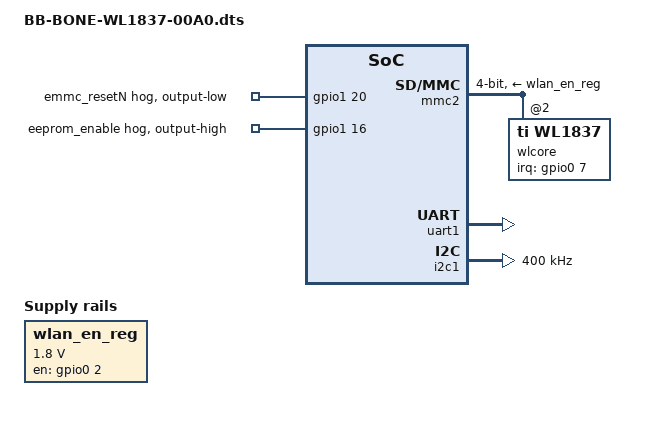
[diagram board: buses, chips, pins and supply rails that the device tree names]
/*
 * Copyright (C) 2012 Texas Instruments Incorporated - http://www.ti.com/
 *
 * This program is free software; you can redistribute it and/or modify
 * it under the terms of the GNU General Public License version 2 as
 * published by the Free Software Foundation.
 */

/dts-v1/;
/plugin/;

#include <dt-bindings/board/am335x-bbw-bbb-base.h>
#include <dt-bindings/gpio/gpio.h>
#include <dt-bindings/pinctrl/am33xx.h>

/ {
	compatible = "ti,beaglebone", "ti,beaglebone-black";

	/* identification */
	part-number = "BB-BONE-WL1837";
	version = "00A0";

	/* state the resources this cape uses */
	exclusive-use =
		/* the pin header uses */
		"P8.25",	/* sdio: data0 */
		"P8.24",	/* sdio: data1 */
		"P8.5",		/* sdio: data2 */
		"P8.6",		/* sdio: data3 */
		"P8.21",	/* sdio: clk */
		"P8.20",	/* sdio: cmd */
		"P9.19",	/* uart1: rtsn */
		"P9.20",	/* uart1: ctsn */
		"P9.26",	/* uart1: rxd */
		"P9.24",	/* uart1: txd */
		"P9.17",	/* i2c1 */
		"P9.18",	/* i2c1 */

		"gpio0_2",	/* WL_EN */
		"gpio0_7",	/* WL_IRQ */
		"gpio0_3",	/* BT_EN */
		"gpio1_29",	/* BUF_ENABLE */
		"gpio2_2", 	/* Audio_sync */
		"gpio1_20",	/* EMMC ResetN */
		"gpio1_16",	/* EEPROM Enable */

		/* the hardware ip uses */
		"mmc2",
		"uart1",
		"i2c1";

	/*
	 * Helper to show loaded overlays under: /proc/device-tree/chosen/overlays/
	 */
	fragment@0 {
		target-path="/";
		__overlay__ {

			chosen {
				overlays {
					BB-BONE-WL1837-00A1 = __TIMESTAMP__;
				};
			};
		};
	};

	/*
	 * Free up the pins used by the cape from the pinmux helpers.
	 */
	fragment@1 {
		target = <&ocp>;
		__overlay__ {
			P9_21_pinmux { status = "disabled"; };	/* P9_21: gpio0_3 BT_EN*/

			P8_21_pinmux { status = "disabled"; };	/* P8_21: gpmc_csn1.mmc1_clk */
			P8_20_pinmux { status = "disabled"; };	/* P8_20: gpmc_csn2.mmc1_cmd */
			P8_25_pinmux { status = "disabled"; };	/* P8_25: gpmc_ad0.mmc1_dat0 */
			P8_24_pinmux { status = "disabled"; };	/* P8_24: gpmc_ad1.mmc1_dat1 */
			P8_05_pinmux { status = "disabled"; };	/* P8_05: gpmc_ad2.mmc1_dat2 */
			P8_06_pinmux { status = "disabled"; };	/* P8_06: gpmc_ad3.mmc1_dat3 */

			P9_22_pinmux { status = "disabled"; };	/* P9_22: gpio0_2 WL_EN */
			P9_42_pinmux { status = "disabled"; };	/* P9_42: gpio0_7 WL_IRQ */
			P8_26_pinmux { status = "disabled"; };	/* P8_26: gpmc_csn0.gpio1_29 BF_EN*/
			P8_07_pinmux { status = "disabled"; };	/* P8_07: gpmc_advn_ale.gpio2_2  Audio_sync*/
			P9_15_pinmux { status = "disabled"; };	/* P9_15: EEPROM Enable */

			P9_26_pinmux { status = "disabled"; };	/* P9_26: (D16) uart1_rxd.uart1_rxd */
			P9_24_pinmux { status = "disabled"; };	/* P9_24: (D15) uart1_txd.uart1_txd */
			P9_20_pinmux { status = "disabled"; };	/* P9_20: (D18) uart1_ctsn.uart1_ctsn */
			P9_19_pinmux { status = "disabled"; };	/* P9_19: (D17) uart1_rtsn.uart1_rtsn  */

			P9_17_pinmux { status = "disabled"; };	/* P9_17: i2c1 */
			P9_18_pinmux { status = "disabled"; };	/* P9_18: i2c1 */		};
	};

	fragment@2 {
		target = <&am33xx_pinmux>;
		__overlay__ {

			bt_pins_default: pinmux_bt_pins_default {
				pinctrl-single,pins = <
					BONE_P9_21 (PIN_OUTPUT_PULLUP   | MUX_MODE7)	/* P9_21: gpio0_3 BT_EN*/
				>;
			};

			bt_pins_sleep: pinmux_bt_pins_sleep {
				pinctrl-single,pins = <
					BONE_P9_21 (PIN_OUTPUT_PULLDOWN   | MUX_MODE7)	/* P9_21: gpio0_3 BT_EN*/
				>;
			};

			bb_mmc2_pins: pinmux_bb_mmc2_pins {
		 		pinctrl-single,pins = <
					BONE_P8_21 (PIN_INPUT_PULLUP | MUX_MODE2)	/* P8_21: gpmc_csn1.mmc1_clk */
		 			BONE_P8_20 (PIN_INPUT_PULLUP | MUX_MODE2)	/* P8_20: gpmc_csn2.mmc1_cmd */
					BONE_P8_25 (PIN_INPUT_PULLUP | MUX_MODE1)	/* P8_25: gpmc_ad0.mmc1_dat0 */
					BONE_P8_24 (PIN_INPUT_PULLUP | MUX_MODE1)	/* P8_24: gpmc_ad1.mmc1_dat1 */
					BONE_P8_05 (PIN_INPUT_PULLUP | MUX_MODE1)	/* P8_05: gpmc_ad2.mmc1_dat2 */
					BONE_P8_06 (PIN_INPUT_PULLUP | MUX_MODE1)	/* P8_06: gpmc_ad3.mmc1_dat3 */
				>;
			};

			bb_mmc2_pins_sleep: pinmux_bb_mmc2_pins_sleep {
				pinctrl-single,pins = <
					BONE_P8_21 (PIN_INPUT_PULLDOWN | MUX_MODE7)	/* P8_21: gpmc_csn1.mmc1_clk */
					BONE_P8_20 (PIN_INPUT_PULLDOWN | MUX_MODE7)	/* P8_20: gpmc_csn2.mmc1_cmd */
					BONE_P8_25 (PIN_INPUT_PULLDOWN | MUX_MODE7)	/* P8_25: gpmc_ad0.mmc1_dat0 */
					BONE_P8_24 (PIN_INPUT_PULLDOWN | MUX_MODE7)	/* P8_24: gpmc_ad1.mmc1_dat1 */
					BONE_P8_05 (PIN_INPUT_PULLDOWN | MUX_MODE7)	/* P8_05: gpmc_ad2.mmc1_dat2 */
					BONE_P8_06 (PIN_INPUT_PULLDOWN | MUX_MODE7)	/* P8_06: gpmc_ad3.mmc1_dat3 */
				>;
			};

			/* wl18xx card enable/irq GPIOs. */
			bb_wlan_pins: pinmux_bb_wlan_pins {
				pinctrl-single,pins = <
					BONE_P9_22  (PIN_OUTPUT_PULLUP | MUX_MODE7)	/* P9_22: gpio0_2 WL_EN */
					BONE_P9_42A (PIN_INPUT_PULLUP | MUX_MODE7)	/* P9_42: gpio0_7 WL_IRQ */
					BONE_P8_26  (PIN_OUTPUT_PULLUP | MUX_MODE0)	/* P8_26: gpmc_csn0.gpio1_29 BF_EN*/
					BONE_P8_07  (PIN_OUTPUT_PULLDOWN | MUX_MODE7)	/* P8_07: gpmc_advn_ale.gpio2_2  Audio_sync*/
					BONE_P9_15  (PIN_OUTPUT_PULLUP | MUX_MODE7)	/* P9_15: EEPROM Enable */
				>;
			};

			/* wl18xx card enable/irq GPIOs. */
			bb_wlan_pins_sleep: pinmux_bb_wlan_pins_sleep {
				pinctrl-single,pins = <
					BONE_P9_22  (PIN_OUTPUT_PULLUP | MUX_MODE7)	/* P9_22: gpio0_2 WL_EN */
					BONE_P9_42A (PIN_INPUT_PULLUP | MUX_MODE7)	/* P9_42: gpio0_7 WL_IRQ */
					BONE_P8_26  (PIN_OUTPUT_PULLUP | MUX_MODE0)	/* P8_26: gpmc_csn0.gpio1_29 BF_EN*/
					BONE_P8_07  (PIN_OUTPUT_PULLDOWN | MUX_MODE7)	/* P8_07: gpmc_advn_ale.gpio2_2  Audio_sync*/
					BONE_P9_15  (PIN_OUTPUT_PULLUP | MUX_MODE7)	/* P9_15: EEPROM Enable */
				>;
			};

			bb_uart1_pins_default: pinmux_bb_uart1_pins_default {
				pinctrl-single,pins = <
					BONE_P9_26 ( PIN_INPUT  | MUX_MODE0 )	/* P9_26: (D16) uart1_rxd.uart1_rxd */
					BONE_P9_24 ( PIN_OUTPUT | MUX_MODE0 )	/* P9_24: (D15) uart1_txd.uart1_txd */
					BONE_P9_20 ( PIN_INPUT  | MUX_MODE0 )	/* P9_20: (D18) uart1_ctsn.uart1_ctsn */
					BONE_P9_19 ( PIN_OUTPUT | MUX_MODE0 )	/* P9_19: (D17) uart1_rtsn.uart1_rtsn  */
				>;
			};

			bb_uart1_pins_sleep: pinmux_bb_uart1_pins_sleep {
				pinctrl-single,pins = <
					BONE_P9_26 ( PIN_INPUT  | MUX_MODE0 )	/* P9_26: (D16) uart1_rxd.uart1_rxd */
					BONE_P9_24 ( PIN_OUTPUT | MUX_MODE0 )	/* P9_24: (D15) uart1_txd.uart1_txd */
					BONE_P9_20 ( PIN_INPUT  | MUX_MODE0 )	/* P9_20: (D18) uart1_ctsn.uart1_ctsn */
					BONE_P9_19 ( PIN_OUTPUT | MUX_MODE0 )	/* P9_19: (D17) uart1_rtsn.uart1_rtsn  */
				>;
			};

			bb_i2c1_pins: pinmux_bb_i2c1_pins {
				pinctrl-single,pins = <
					BONE_P9_17 (PIN_INPUT_PULLUP | MUX_MODE2)	/* P9_17: i2c1 */
					BONE_P9_18 (PIN_INPUT_PULLUP | MUX_MODE2)	/* P9_18: i2c1 */
				>;
			};
		};
	};

	fragment@3 {
		target-path="/";
		__overlay__ {
			wlan_en_reg: fixedregulator@1 {
				compatible = "regulator-fixed";
				regulator-name = "wlan-en-regulator";
				regulator-min-microvolt = <1800000>;
				regulator-max-microvolt = <1800000>;

				/* WL_EN */
				gpio = <&gpio0 2 0>;

				/* WLAN card specific delay */
				enable-active-high;
			};
		};
	};

	fragment@4 {
		target-path="/";
		__overlay__ {
				kim {
				compatible = "kim";
				nshutdown_gpio = <3>; /* Bank0, pin3 */
				dev_name = "/dev/ttyS1";
				flow_cntrl = <1>;
				baud_rate = <3000000>;
			};
		};
	};

	fragment@5 {
		target-path="/";
		__overlay__ {
			btwilink {
				compatible = "btwilink";
			};
		};	
	};

	fragment@6 {
		target = <&mmc2>;
		__overlay__ {
			status = "okay";
			vmmc-supply = <&wlan_en_reg>;
			bus-width = <4>;
			pinctrl-names = "default", "sleep";
			pinctrl-0 = <&bb_mmc2_pins &bb_wlan_pins>;
			pinctrl-1 = <&bb_mmc2_pins_sleep &bb_wlan_pins_sleep>;
			ti,non-removable;
			ti,needs-special-hs-handling;
			cap-power-off-card;
			keep-power-in-suspend;

			#address-cells = <1>;
			#size-cells = <0>;
			wlcore: wlcore@0 {
				compatible = "ti,wl1837";
				reg = <2>;
				interrupt-parent = <&gpio0>;
				interrupts = <7 1 /* IRQ_TYPE_EDGE_RISING */>;
			};
		};
	};

	fragment@7 {
		target = <&i2c2>;
		__overlay__ {
			status = "disabled";
		};
	};

	fragment@8 {
		target = <&uart1>;
		__overlay__ {
			pinctrl-names = "default", "sleep";
			pinctrl-0 = <&bb_uart1_pins_default &bt_pins_default>;
			pinctrl-1 = <&bb_uart1_pins_sleep &bt_pins_sleep>;
			status = "okay";
		};
	};

	fragment@9 {
		target = <&gpio1>;
		__overlay__ {
			emmc_rst {
				gpio-hog;
				gpios = <20 0>;
				output-low;
				line-name = "emmc_resetN";
			};
			eeprom_en {
				gpio-hog;
				gpios = <16 0>;
				output-high;
				line-name = "eeprom_enable";
			};
		};
	};

	fragment@10 {
		target = <&i2c1>;
		__overlay__ {
			pinctrl-names = "default";
			pinctrl-0 = <&bb_i2c1_pins>;
			status = "okay";
			clock-frequency = <400000>;
		};
	};
};
